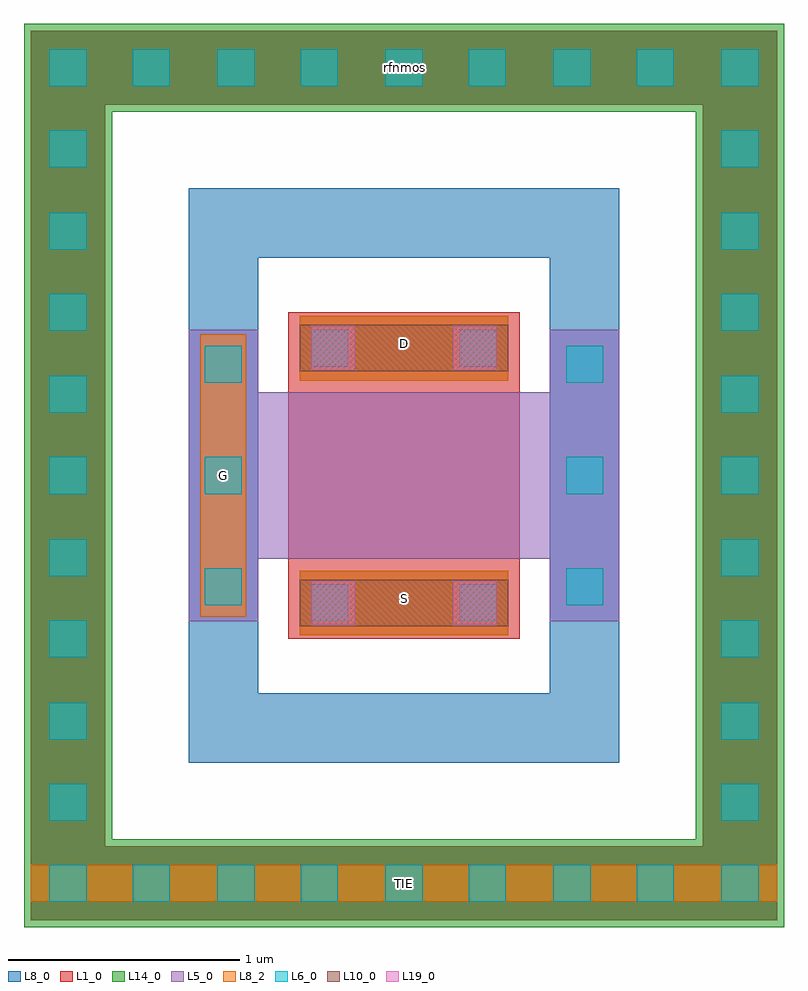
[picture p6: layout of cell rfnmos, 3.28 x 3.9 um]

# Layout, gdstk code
import gdstk
lib = gdstk.Library(unit=1e-6, precision=1e-09)
def R(c, l, rs):  # rectangles x0, y0, x1, y1
    for r in rs: c.add(gdstk.rectangle(r[:2], r[2:], *l))
def P(c, l, *ps):  # polygons
    for p in ps: c.add(gdstk.Polygon(p, *l))
L1_0 = (1, 0)
L5_0 = (5, 0)
L6_0 = (6, 0)
L8_0 = (8, 0)
L8_2 = (8, 2)
L10_0 = (10, 0)
L14_0 = (14, 0)
L19_0 = (19, 0)

rfnmos = lib.new_cell('rfnmos')
R(rfnmos, L1_0, [(1.14,1.245,2.14,2.655), (1.14,1.245,2.14,2.655)])
P(rfnmos, L1_0, [(0.03,0.03),(0.03,3.87),(2.93,3.87),(2.93,3.55),(0.35,3.55),(0.35,0.35),(2.93,0.35),(2.93,3.87),(3.25,3.87),(3.25,0.03)],
  [(0.03,0.03),(0.03,3.87),(2.93,3.87),(2.93,3.55),(0.35,3.55),(0.35,0.35),(2.93,0.35),(2.93,3.87),(3.25,3.87),(3.25,0.03)])
P(rfnmos, L5_0, [(0.71,1.32),(0.71,2.58),(1.01,2.58),(1.01,2.31),(2.27,2.31),(2.27,2.58),(2.57,2.58),(2.57,1.32),(2.27,1.32),(2.27,1.59),(1.01,1.59),(1.01,1.32)],
  [(0.71,1.32),(0.71,2.58),(1.01,2.58),(1.01,2.31),(2.27,2.31),(2.27,2.58),(2.57,2.58),(2.57,1.32),(2.27,1.32),(2.27,1.59),(1.01,1.59),(1.01,1.32)])
R(rfnmos, L6_0, [(0.11,0.11,0.27,0.27), (0.11,0.11,0.27,0.27), (0.47,0.11,0.63,0.27), (0.47,0.11,0.63,0.27), (0.835,0.11,0.995,0.27), (0.835,0.11,0.995,0.27), (1.195,0.11,1.355,0.27), (1.195,0.11,1.355,0.27), (1.56,0.11,1.72,0.27), (1.56,0.11,1.72,0.27), (1.92,0.11,2.08,0.27), (1.92,0.11,2.08,0.27), (2.285,0.11,2.445,0.27), (2.285,0.11,2.445,0.27), (2.645,0.11,2.805,0.27), (2.645,0.11,2.805,0.27), (3.01,0.11,3.17,0.27), (3.01,0.11,3.17,0.27), (0.11,0.46,0.27,0.62), (0.11,0.46,0.27,0.62), (3.01,0.46,3.17,0.62), (3.01,0.46,3.17,0.62), (0.11,0.81,0.27,0.97), (0.11,0.81,0.27,0.97), (3.01,0.81,3.17,0.97), (3.01,0.81,3.17,0.97), (0.11,1.165,0.27,1.325), (0.11,1.165,0.27,1.325), (3.01,1.165,3.17,1.325), (3.01,1.165,3.17,1.325), (1.24,1.32,1.4,1.48), (1.24,1.32,1.4,1.48), (1.88,1.32,2.04,1.48), (1.88,1.32,2.04,1.48), (0.78,1.39,0.94,1.55), (0.78,1.39,0.94,1.55), (2.34,1.39,2.5,1.55), (2.34,1.39,2.5,1.55), (0.11,1.515,0.27,1.675), (0.11,1.515,0.27,1.675), (3.01,1.515,3.17,1.675), (3.01,1.515,3.17,1.675), (0.11,1.87,0.27,2.03), (0.11,1.87,0.27,2.03), (0.78,1.87,0.94,2.03), (0.78,1.87,0.94,2.03), (2.34,1.87,2.5,2.03), (2.34,1.87,2.5,2.03), (3.01,1.87,3.17,2.03), (3.01,1.87,3.17,2.03), (0.11,2.22,0.27,2.38), (0.11,2.22,0.27,2.38), (3.01,2.22,3.17,2.38), (3.01,2.22,3.17,2.38), (0.78,2.35,0.94,2.51), (0.78,2.35,0.94,2.51), (2.34,2.35,2.5,2.51), (2.34,2.35,2.5,2.51), (1.24,2.42,1.4,2.58), (1.24,2.42,1.4,2.58), (1.88,2.42,2.04,2.58), (1.88,2.42,2.04,2.58), (0.11,2.575,0.27,2.735), (0.11,2.575,0.27,2.735), (3.01,2.575,3.17,2.735), (3.01,2.575,3.17,2.735), (0.11,2.925,0.27,3.085), (0.11,2.925,0.27,3.085), (3.01,2.925,3.17,3.085), (3.01,2.925,3.17,3.085), (0.11,3.28,0.27,3.44), (0.11,3.28,0.27,3.44), (3.01,3.28,3.17,3.44), (3.01,3.28,3.17,3.44), (0.11,3.63,0.27,3.79), (0.11,3.63,0.27,3.79), (0.47,3.63,0.63,3.79), (0.47,3.63,0.63,3.79), (0.835,3.63,0.995,3.79), (0.835,3.63,0.995,3.79), (1.195,3.63,1.355,3.79), (1.195,3.63,1.355,3.79), (1.56,3.63,1.72,3.79), (1.56,3.63,1.72,3.79), (1.92,3.63,2.08,3.79), (1.92,3.63,2.08,3.79), (2.285,3.63,2.445,3.79), (2.285,3.63,2.445,3.79), (2.645,3.63,2.805,3.79), (2.645,3.63,2.805,3.79), (3.01,3.63,3.17,3.79), (3.01,3.63,3.17,3.79)])
R(rfnmos, L8_0, [(1.19,1.26,2.09,1.54), (1.19,1.26,2.09,1.54), (0.76,1.34,0.96,2.56), (0.76,1.34,0.96,2.56), (2.32,1.34,2.52,2.56), (2.32,1.34,2.52,2.56), (1.19,2.36,2.09,2.64), (1.19,2.36,2.09,2.64)])
P(rfnmos, L8_0, [(0.03,0.03),(0.03,3.87),(2.93,3.87),(2.93,3.55),(0.35,3.55),(0.35,0.35),(2.93,0.35),(2.93,3.87),(3.25,3.87),(3.25,0.03)],
  [(0.71,0.71),(0.71,3.19),(2.27,3.19),(2.27,2.89),(1.01,2.89),(1.01,1.01),(2.27,1.01),(2.27,3.19),(2.57,3.19),(2.57,0.71)],
  [(0.03,0.03),(0.03,3.87),(2.93,3.87),(2.93,3.55),(0.35,3.55),(0.35,0.35),(2.93,0.35),(2.93,3.87),(3.25,3.87),(3.25,0.03)],
  [(0.71,0.71),(0.71,3.19),(2.27,3.19),(2.27,2.89),(1.01,2.89),(1.01,1.01),(2.27,1.01),(2.27,3.19),(2.57,3.19),(2.57,0.71)])
R(rfnmos, L8_2, [(0.03,0.11,3.25,0.27), (0.03,0.11,3.25,0.27), (1.19,1.26,2.09,1.54), (1.19,1.26,2.09,1.54), (0.76,1.34,0.96,2.56), (0.76,1.34,0.96,2.56), (1.19,2.36,2.09,2.64), (1.19,2.36,2.09,2.64)])
R(rfnmos, L10_0, [(1.19,1.3,2.09,1.5), (1.19,1.3,2.09,1.5), (1.19,2.4,2.09,2.6), (1.19,2.4,2.09,2.6)])
P(rfnmos, L14_0, [(0,0),(0,3.9),(2.9,3.9),(2.9,3.52),(0.38,3.52),(0.38,0.38),(2.9,0.38),(2.9,3.9),(3.28,3.9),(3.28,0)],
  [(0,0),(0,3.9),(2.9,3.9),(2.9,3.52),(0.38,3.52),(0.38,0.38),(2.9,0.38),(2.9,3.9),(3.28,3.9),(3.28,0)])
R(rfnmos, L19_0, [(1.24,1.305,1.43,1.495), (1.24,1.305,1.43,1.495), (1.85,1.305,2.04,1.495), (1.85,1.305,2.04,1.495), (1.24,2.405,1.43,2.595), (1.24,2.405,1.43,2.595), (1.85,2.405,2.04,2.595), (1.85,2.405,2.04,2.595)])
rfnmos.add(gdstk.Label('TIE', (1.64,0.19), layer=63, texttype=0))
rfnmos.add(gdstk.Label('rfnmos', (1.64,3.71), layer=63, texttype=0))
rfnmos.add(gdstk.Label('G', (0.86,1.95), layer=63, texttype=0))
rfnmos.add(gdstk.Label('D', (1.64,2.518), layer=63, texttype=0))
rfnmos.add(gdstk.Label('S', (1.64,1.418), layer=63, texttype=0))
rfnmos.add(gdstk.Label('TIE', (1.64,0.19), layer=63, texttype=0))
rfnmos.add(gdstk.Label('rfnmos', (1.64,3.71), layer=63, texttype=0))
rfnmos.add(gdstk.Label('G', (0.86,1.95), layer=63, texttype=0))
rfnmos.add(gdstk.Label('D', (1.64,2.518), layer=63, texttype=0))
rfnmos.add(gdstk.Label('S', (1.64,1.418), layer=63, texttype=0))

lib.write_gds('rfnmos.gds')
